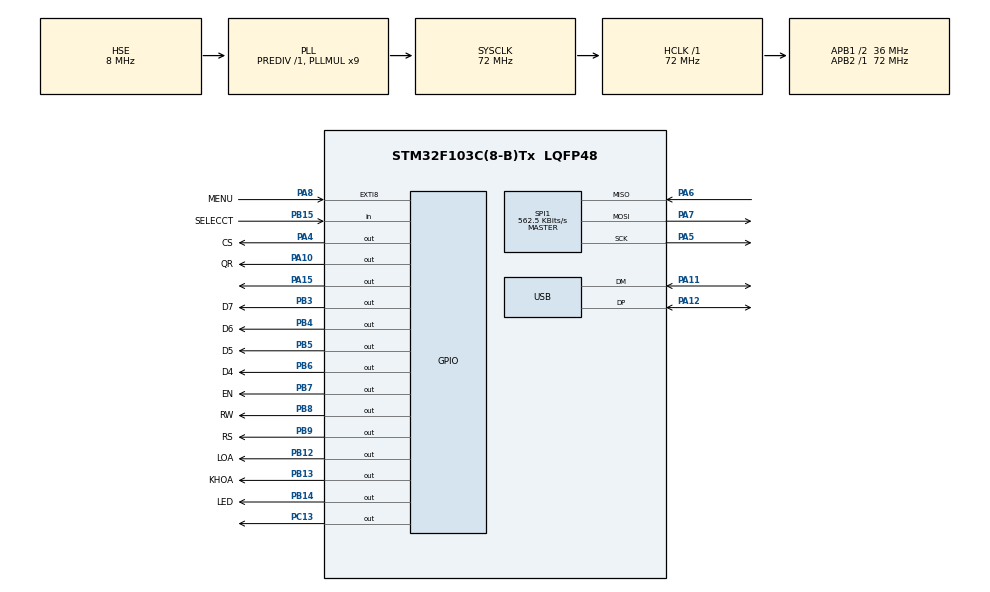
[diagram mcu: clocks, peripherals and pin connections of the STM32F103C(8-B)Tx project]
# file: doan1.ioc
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Mcu.Family=STM32F1
Mcu.Name=STM32F103C(8-B)Tx
Mcu.Package=LQFP48
NVIC.EXTI9_5_IRQn=true\:0\:0\:false\:false\:true\:true\:true\:true
NVIC.PriorityGroup=NVIC_PRIORITYGROUP_4
NVIC.TIM2_IRQn=true\:0\:0\:false\:false\:true\:true\:true\:true
NVIC.USB_LP_CAN1_RX0_IRQn=true\:0\:0\:false\:false\:true\:false\:true\:true
PA10.GPIO_Label=QR
PA10.Signal=GPIO_Output
PA11.Mode=Device
PA11.Signal=USB_DM
PA12.Mode=Device
PA12.Signal=USB_DP
PA13.Mode=Serial_Wire
PA13.Signal=SYS_JTMS-SWDIO
PA14.Mode=Serial_Wire
PA14.Signal=SYS_JTCK-SWCLK
PA15.Signal=GPIO_Output
PA4.GPIO_Label=CS
PA4.Signal=GPIO_Output
PA5.Mode=Full_Duplex_Master
PA5.Signal=SPI1_SCK
PA6.Mode=Full_Duplex_Master
PA6.Signal=SPI1_MISO
PA7.Mode=Full_Duplex_Master
PA7.Signal=SPI1_MOSI
PA8.GPIO_Label=MENU
PA8.Signal=GPXTI8
PB12.GPIO_Label=LOA
PB12.PinState=GPIO_PIN_RESET
PB12.Signal=GPIO_Output
PB13.GPIO_Label=KHOA
PB13.PinState=GPIO_PIN_RESET
PB13.Signal=GPIO_Output
PB14.GPIO_Label=LED
PB14.PinState=GPIO_PIN_RESET
PB14.Signal=GPIO_Output
PB15.GPIO_Label=SELECCT
PB15.GPIO_PuPd=GPIO_PULLUP
PB15.Signal=GPIO_Input
PB3.GPIO_Label=D7
PB3.Signal=GPIO_Output
PB4.GPIO_Label=D6
PB4.Signal=GPIO_Output
PB5.GPIO_Label=D5
PB5.Signal=GPIO_Output
PB6.GPIO_Label=D4
PB6.Signal=GPIO_Output
PB7.GPIO_Label=EN
PB7.Signal=GPIO_Output
PB8.GPIO_Label=RW
PB8.Signal=GPIO_Output
PB9.GPIO_Label=RS
PB9.Signal=GPIO_Output
PC13-TAMPER-RTC.Signal=GPIO_Output
PD0-OSC_IN.Mode=HSE-External-Oscillator
PD0-OSC_IN.Signal=RCC_OSC_IN
PD1-OSC_OUT.Mode=HSE-External-Oscillator
PD1-OSC_OUT.Signal=RCC_OSC_OUT
ProjectManager.HeapSize=0x200
ProjectManager.StackSize=0x400
ProjectManager.TargetToolchain=STM32CubeIDE
RCC.AHBFreq_Value=72000000
RCC.APB1CLKDivider=RCC_HCLK_DIV2
RCC.APB1Freq_Value=36000000
RCC.APB1TimFreq_Value=72000000
RCC.APB2Freq_Value=72000000
RCC.APB2TimFreq_Value=72000000
RCC.HCLKFreq_Value=72000000
RCC.PLLMUL=RCC_PLL_MUL9
RCC.PLLSourceVirtual=RCC_PLLSOURCE_HSE
RCC.SYSCLKFreq_VALUE=72000000
RCC.SYSCLKSource=RCC_SYSCLKSOURCE_PLLCLK
RCC.USBFreq_Value=48000000
RCC.USBPrescaler=RCC_USBCLKSOURCE_PLL_DIV1_5
SPI1.BaudRatePrescaler=SPI_BAUDRATEPRESCALER_128
SPI1.CalculateBaudRate=562.5 KBits/s
SPI1.DataSize=SPI_DATASIZE_8BIT
SPI1.Direction=SPI_DIRECTION_2LINES
SPI1.Mode=SPI_MODE_MASTER
SPI1.VirtualType=VM_MASTER
TIM2.AutoReloadPreload=TIM_AUTORELOAD_PRELOAD_ENABLE
TIM2.Period=1999
TIM2.Prescaler=35999
USB_DEVICE.APP_RX_DATA_SIZE=128
USB_DEVICE.APP_TX_DATA_SIZE=128
USB_DEVICE.CLASS_NAME_FS=CDC
USB_DEVICE.VirtualMode=Cdc
USB_DEVICE.VirtualModeFS=Cdc_FS
VP_TIM2_VS_ClockSourceINT.Mode=Internal
VP_USB_DEVICE_VS_USB_DEVICE_CDC_FS.Mode=CDC_FS
board=custom

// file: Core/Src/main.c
/* USER CODE BEGIN Header */
/**
 ******************************************************************************
 * @file           : main.c
 * @brief          : Main program body
 ******************************************************************************
 * @attention
 *
 * Copyright (c) 2022 STMicroelectronics.
 * All rights reserved.
 *
 * This software is licensed under terms that can be found in the LICENSE file
 * in the root directory of this software component.
 * If no LICENSE file comes with this software, it is provided AS-IS.
 *
 ******************************************************************************
 */
/* USER CODE END Header */
#include "main.h"

/* USER CODE BEGIN Includes */

#include "state.h"
/* USER CODE END Includes */

SPI_HandleTypeDef hspi1;

TIM_HandleTypeDef htim2;

/* USER CODE BEGIN PV */

enum Status states;
uint8_t IDCard[MFRC522_MAX_LEN];
int8_t Rx_Buffer[128];
uint8_t exitmenu = 255;
uint8_t buton = 1;
uint8_t statustask = 0;
CLCD_Name LCD1;
uint32_t AddressUID = StartAddressUID;
uint8_t PassWord[8]; // = {0,0,0,0,0,0,0,0} ;
uint32_t delayloa = 100;
char str[20];
char Tx_Buffer[6];
/* USER CODE END PV */

void SystemClock_Config(void);
static void MX_GPIO_Init(void);
static void MX_SPI1_Init(void);
static void MX_TIM2_Init(void);

/* USER CODE BEGIN 0 */

void HAL_GPIO_EXTI_Callback(uint16_t GPIO_Pin)
{
	if(states == Free)
		buton = 0;
}

void HAL_TIM_PeriodElapsedCallback(TIM_HandleTypeDef *htim)
{
	HAL_GPIO_TogglePin(GPIOC, GPIO_PIN_13);
	if(exitmenu > 0)
		exitmenu --;
	else exitmenu = 0;
}

/* USER CODE END 0 */

int main(void)
{

  /* MCU Configuration--------------------------------------------------------*/

  /* Reset of all peripherals, Initializes the Flash interface and the Systick. */
  HAL_Init();

  /* Configure the system clock */
  SystemClock_Config();

  /* Initialize all configured peripherals */
  MX_GPIO_Init();
  MX_SPI1_Init();
  MX_TIM2_Init();
  MX_USB_DEVICE_Init();
  /* USER CODE BEGIN 2 */

	TM_MFRC522_Init();

	CLCD_4BIT_Init(&LCD1, 16, 2, RS_GPIO_Port, RS_Pin, EN_GPIO_Port, EN_Pin,
				   D4_GPIO_Port, D4_Pin, D5_GPIO_Port, D5_Pin,
				   D6_GPIO_Port, D6_Pin, D7_GPIO_Port, D7_Pin);
	states = Free;

  /* USER CODE END 2 */

  /* Infinite loop */
  /* USER CODE BEGIN WHILE */
//	writepassword();
	HAL_TIM_Base_Start_IT(&htim2);
	if (checkcountUID() == 0)
	{
		startadd();
	}
	while (1)
	{
    /* USER CODE END WHILE */

    /* USER CODE BEGIN 3 */

		CLCD_SetCursor(&LCD1, 0, 0);
		CLCD_WriteString(&LCD1, " MOI QUET THE ");
		if(buton == 0){
			states = Menu;
		}else if(TM_MFRC522_Check(IDCard) == MI_OK){
			states = CardID;
		}else if(Rx_Buffer[0] != 0){
			states = FaceID;
		}
		statemachineupdate(&states);
		HAL_Delay(1000);
//		if (buton == 0)
//		{
//			statustask = 1;
//			HAL_NVIC_DisableIRQ(MENU_EXTI_IRQn);
//			Set_Pin_Input(MENU_GPIO_Port, MENU_Pin);
//			exitmenu = 15;
//			CLCD_SetCursor(&LCD1, 0, 1);
//			CLCD_WriteString(&LCD1, "THE NGUOI LON");
//			uint8_t key = 0;
//			uint8_t stat ;
//			while (exitmenu )
//			{
//				if (TM_MFRC522_Check(IDCard) == MI_OK)
//				{
//					HAL_GPIO_WritePin(LED_GPIO_Port, LED_Pin, 1);
//					HAL_GPIO_WritePin(LOA_GPIO_Port, LOA_Pin, 1);
//					HAL_Delay(delayloa);
//					HAL_GPIO_WritePin(LOA_GPIO_Port, LOA_Pin, 0);
//					HAL_GPIO_WritePin(LED_GPIO_Port, LED_Pin, 0);
//					key = CheckListUID(IDCard);
//					key = key >> 4;
//					break;
//				}
//				stat = checkbuton(MENU_GPIO_Port, MENU_Pin);
//				switch(stat){
//				case 0:
//					break;
//				case 3:
//					password();
//					key = 99;
//					exitmenu = 0;
//					break;
//				default :
//					key = 2;
//					exitmenu = 0;
//					break;
//				}
//			}
//			switch (key){
//			case 1:
//				seclectmenu();
//				break;
//			case 99:
//				break;
//			default:
//				CLCD_Clear(&LCD1);
//				CLCD_SetCursor(&LCD1, 0, 0);
//				CLCD_WriteString(&LCD1, "      SAI ");
//				CLCD_SetCursor(&LCD1, 0, 1);
//				CLCD_WriteString(&LCD1, "KHONG CO QUYEN");
//				HAL_Delay(1000);
//				CLCD_Clear(&LCD1);
//				break;
//			}
//			buton = 1;
//			Set_Pin_IT(MENU_GPIO_Port, MENU_GPIO_Port);
//			statustask = 0;
//		}
//		if (TM_MFRC522_Check(IDCard) == MI_OK)
//		{
//			sprintf(str, "ID: 0x%02X%02X%02X%02X%02X", IDCard[0], IDCard[1], IDCard[2], IDCard[3], IDCard[4]);
//			HAL_GPIO_WritePin(LED_GPIO_Port, LED_Pin, 1);
//			HAL_GPIO_WritePin(LOA_GPIO_Port, LOA_Pin, 1);
//			HAL_Delay(delayloa);
//			HAL_GPIO_WritePin(LOA_GPIO_Port, LOA_Pin, 0);
//			HAL_GPIO_WritePin(LED_GPIO_Port, LED_Pin, 0);
//			if (CheckListUID(IDCard) != 0)
//			{
//				HAL_GPIO_WritePin(KHOA_GPIO_Port, KHOA_Pin, 1);
//				CLCD_Clear(&LCD1);
//				CLCD_SetCursor(&LCD1, 0, 0);
//				CLCD_WriteString(&LCD1, "    WELCOME");
//				CLCD_SetCursor(&LCD1, 0, 1);
//				CLCD_WriteString(&LCD1,str);
//				HAL_Delay(5000);
//				HAL_GPIO_WritePin(KHOA_GPIO_Port, KHOA_Pin, 0);
//			}
//			else
//			{
//				CLCD_Clear(&LCD1);
//				CLCD_SetCursor(&LCD1, 0, 0);
//				CLCD_WriteString(&LCD1, "   THE SAI");
//				CLCD_SetCursor(&LCD1, 0, 1);
//				CLCD_WriteString(&LCD1, str);
//				HAL_Delay(5000);
//			}
//
//			CLCD_Clear(&LCD1);
//			CLCD_SetCursor(&LCD1, 0, 0);
//			CLCD_WriteString(&LCD1, " MOI QUET THE ");
//		}
	}
  /* USER CODE END 3 */
}

void SystemClock_Config(void)
{
  RCC_OscInitTypeDef RCC_OscInitStruct = {0};
  RCC_ClkInitTypeDef RCC_ClkInitStruct = {0};
  RCC_PeriphCLKInitTypeDef PeriphClkInit = {0};

  /** Initializes the RCC Oscillators according to the specified parameters
  * in the RCC_OscInitTypeDef structure.
  */
  RCC_OscInitStruct.OscillatorType = RCC_OSCILLATORTYPE_HSE;
  RCC_OscInitStruct.HSEState = RCC_HSE_ON;
  RCC_OscInitStruct.HSEPredivValue = RCC_HSE_PREDIV_DIV1;
  RCC_OscInitStruct.HSIState = RCC_HSI_ON;
  RCC_OscInitStruct.PLL.PLLState = RCC_PLL_ON;
  RCC_OscInitStruct.PLL.PLLSource = RCC_PLLSOURCE_HSE;
  RCC_OscInitStruct.PLL.PLLMUL = RCC_PLL_MUL9;
  if (HAL_RCC_OscConfig(&RCC_OscInitStruct) != HAL_OK)
  {
    Error_Handler();
  }

  /** Initializes the CPU, AHB and APB buses clocks
  */
  RCC_ClkInitStruct.ClockType = RCC_CLOCKTYPE_HCLK|RCC_CLOCKTYPE_SYSCLK
                              |RCC_CLOCKTYPE_PCLK1|RCC_CLOCKTYPE_PCLK2;
  RCC_ClkInitStruct.SYSCLKSource = RCC_SYSCLKSOURCE_PLLCLK;
  RCC_ClkInitStruct.AHBCLKDivider = RCC_SYSCLK_DIV1;
  RCC_ClkInitStruct.APB1CLKDivider = RCC_HCLK_DIV2;
  RCC_ClkInitStruct.APB2CLKDivider = RCC_HCLK_DIV1;

  if (HAL_RCC_ClockConfig(&RCC_ClkInitStruct, FLASH_LATENCY_2) != HAL_OK)
  {
    Error_Handler();
  }
  PeriphClkInit.PeriphClockSelection = RCC_PERIPHCLK_USB;
  PeriphClkInit.UsbClockSelection = RCC_USBCLKSOURCE_PLL_DIV1_5;
  if (HAL_RCCEx_PeriphCLKConfig(&PeriphClkInit) != HAL_OK)
  {
    Error_Handler();
  }
}

static void MX_SPI1_Init(void)
{

  /* SPI1 parameter configuration*/
  hspi1.Instance = SPI1;
  hspi1.Init.Mode = SPI_MODE_MASTER;
  hspi1.Init.Direction = SPI_DIRECTION_2LINES;
  hspi1.Init.DataSize = SPI_DATASIZE_8BIT;
  hspi1.Init.CLKPolarity = SPI_POLARITY_LOW;
  hspi1.Init.CLKPhase = SPI_PHASE_1EDGE;
  hspi1.Init.NSS = SPI_NSS_SOFT;
  hspi1.Init.BaudRatePrescaler = SPI_BAUDRATEPRESCALER_128;
  hspi1.Init.FirstBit = SPI_FIRSTBIT_MSB;
  hspi1.Init.TIMode = SPI_TIMODE_DISABLE;
  hspi1.Init.CRCCalculation = SPI_CRCCALCULATION_DISABLE;
  hspi1.Init.CRCPolynomial = 10;
  if (HAL_SPI_Init(&hspi1) != HAL_OK)
  {
    Error_Handler();
  }

}

static void MX_TIM2_Init(void)
{

  TIM_ClockConfigTypeDef sClockSourceConfig = {0};
  TIM_MasterConfigTypeDef sMasterConfig = {0};

  htim2.Instance = TIM2;
  htim2.Init.Prescaler = 35999;
  htim2.Init.CounterMode = TIM_COUNTERMODE_UP;
  htim2.Init.Period = 1999;
  htim2.Init.ClockDivision = TIM_CLOCKDIVISION_DIV1;
  htim2.Init.AutoReloadPreload = TIM_AUTORELOAD_PRELOAD_ENABLE;
  if (HAL_TIM_Base_Init(&htim2) != HAL_OK)
  {
    Error_Handler();
  }
  sClockSourceConfig.ClockSource = TIM_CLOCKSOURCE_INTERNAL;
  if (HAL_TIM_ConfigClockSource(&htim2, &sClockSourceConfig) != HAL_OK)
  {
    Error_Handler();
  }
  sMasterConfig.MasterOutputTrigger = TIM_TRGO_RESET;
  sMasterConfig.MasterSlaveMode = TIM_MASTERSLAVEMODE_DISABLE;
  if (HAL_TIMEx_MasterConfigSynchronization(&htim2, &sMasterConfig) != HAL_OK)
  {
    Error_Handler();
  }

}

static void MX_GPIO_Init(void)
{
  GPIO_InitTypeDef GPIO_InitStruct = {0};

  /* GPIO Ports Clock Enable */
  __HAL_RCC_GPIOC_CLK_ENABLE();
  __HAL_RCC_GPIOD_CLK_ENABLE();
  __HAL_RCC_GPIOA_CLK_ENABLE();
  __HAL_RCC_GPIOB_CLK_ENABLE();

  /*Configure GPIO pin Output Level */
  HAL_GPIO_WritePin(GPIOC, GPIO_PIN_13, GPIO_PIN_RESET);

  /*Configure GPIO pin Output Level */
  HAL_GPIO_WritePin(GPIOA, CS_Pin|QR_Pin|GPIO_PIN_15, GPIO_PIN_RESET);

  /*Configure GPIO pin Output Level */
  HAL_GPIO_WritePin(GPIOB, LOA_Pin|KHOA_Pin|LED_Pin|D7_Pin
                          |D6_Pin|D5_Pin|D4_Pin|EN_Pin
                          |RW_Pin|RS_Pin, GPIO_PIN_RESET);

  /*Configure GPIO pin : PC13 */
  GPIO_InitStruct.Pin = GPIO_PIN_13;
  GPIO_InitStruct.Mode = GPIO_MODE_OUTPUT_PP;
  GPIO_InitStruct.Pull = GPIO_NOPULL;
  GPIO_InitStruct.Speed = GPIO_SPEED_FREQ_LOW;
  HAL_GPIO_Init(GPIOC, &GPIO_InitStruct);

  /*Configure GPIO pins : CS_Pin QR_Pin PA15 */
  GPIO_InitStruct.Pin = CS_Pin|QR_Pin|GPIO_PIN_15;
  GPIO_InitStruct.Mode = GPIO_MODE_OUTPUT_PP;
  GPIO_InitStruct.Pull = GPIO_NOPULL;
  GPIO_InitStruct.Speed = GPIO_SPEED_FREQ_LOW;
  HAL_GPIO_Init(GPIOA, &GPIO_InitStruct);

  /*Configure GPIO pins : LOA_Pin KHOA_Pin LED_Pin D7_Pin
                           D6_Pin D5_Pin D4_Pin EN_Pin
                           RW_Pin RS_Pin */
  GPIO_InitStruct.Pin = LOA_Pin|KHOA_Pin|LED_Pin|D7_Pin
                          |D6_Pin|D5_Pin|D4_Pin|EN_Pin
                          |RW_Pin|RS_Pin;
  GPIO_InitStruct.Mode = GPIO_MODE_OUTPUT_PP;
  GPIO_InitStruct.Pull = GPIO_NOPULL;
  GPIO_InitStruct.Speed = GPIO_SPEED_FREQ_LOW;
  HAL_GPIO_Init(GPIOB, &GPIO_InitStruct);

  /*Configure GPIO pin : SELECCT_Pin */
  GPIO_InitStruct.Pin = SELECCT_Pin;
  GPIO_InitStruct.Mode = GPIO_MODE_INPUT;
  GPIO_InitStruct.Pull = GPIO_PULLUP;
  HAL_GPIO_Init(SELECCT_GPIO_Port, &GPIO_InitStruct);

  /*Configure GPIO pin : MENU_Pin */
  GPIO_InitStruct.Pin = MENU_Pin;
  GPIO_InitStruct.Mode = GPIO_MODE_IT_RISING;
  GPIO_InitStruct.Pull = GPIO_NOPULL;
  HAL_GPIO_Init(MENU_GPIO_Port, &GPIO_InitStruct);

  /* EXTI interrupt init*/
  HAL_NVIC_SetPriority(EXTI9_5_IRQn, 0, 0);
  HAL_NVIC_EnableIRQ(EXTI9_5_IRQn);

}

void Error_Handler(void)
{
	__disable_irq();
	while (1)
	{
	}
}
